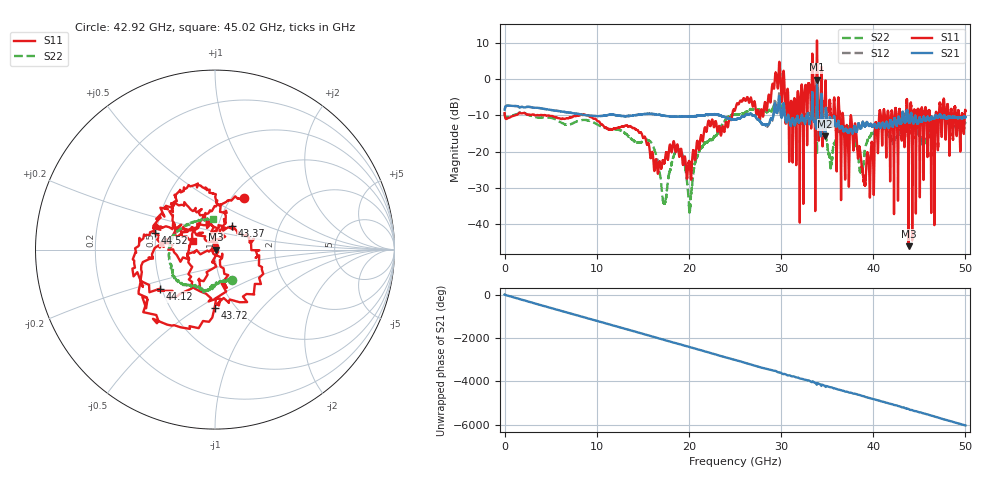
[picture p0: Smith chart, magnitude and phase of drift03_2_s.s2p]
!Created with skrf (http://scikit-rf.org).
# Hz S RI R 50.0
!freq ReS11 ImS11 ReS21 ImS21 ReS12 ImS12 ReS22 ImS22
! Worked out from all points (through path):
!   10001 points, 300 kHz to 50 GHz, reference 50 ohm
!   highest |S21| = -0.19 dB at 33.9 GHz (marker M1); lowest = -15.8 dB at 34.8 GHz (marker M2)
!   group delay of S21, straight-line fit = 335 ps
!   lowest |S11| = -46.1 dB at 43.83 GHz (marker M3), VSWR 1.01, Z = 50.5 + j0.0522 ohm
!   |S11| at or under -10 dB: 4.47 GHz to 7.922 GHz (3.451 GHz wide, 55.7 % of centre); 9.008 GHz to 24.7 GHz (15.69 GHz wide, 93.1 % of centre); 36.72 GHz to 40.64 GHz (3.921 GHz wide, 10.1 % of centre) (the widest 3 of 64)
!   |S22| runs from -36.9 to -5.9 dB; largest |S21 - S12| = 0.11
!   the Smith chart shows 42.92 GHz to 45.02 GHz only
!   S11 on the Smith chart (normalised r, x): 42.92 GHz: 1.14, +0.73; 43.37 GHz: 1.17, +0.32; 43.72 GHz: 0.80, -0.59; 44.12 GHz: 0.49, -0.25; 44.52 GHz: 0.49, +0.10; 45.02 GHz: 0.78, +0.07
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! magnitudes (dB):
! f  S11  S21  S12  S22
! 300 kHz  -9.4  -8.5  -8.4  -9.3
! 8.335 GHz  -9.9  -9.8  -9.8  -11.4
! 16.67 GHz  -25.6  -9.8  -9.8  -23.7
! 17.35 GHz  -23.1  -10.1  -10.1  -34.1
! 19.03 GHz  -20.6  -10.4  -10.4  -19.8
! 20.11 GHz  -23.9  -10.3  -10.3  -34.5
! 21.19 GHz  -18.0  -10.1  -10.1  -19.5
! 25 GHz  -8.6  -11.1  -11.1  -9.8
! 31.08 GHz  -6.0  -12.7  -12.8  -10.5
! 33.34 GHz  -0.3  -8.0  -8.1  -9.5
! 33.9 GHz  10.7  -0.2  -0.6  -20.7
! 34.8 GHz  -3.2  -15.8  -13.9  -14.5
! 39 GHz  -28.6  -12.7  -12.8  -22.0
! 41.67 GHz  -10.1  -13.4  -13.3  -14.9
! 42.92 GHz  -9.6  -12.1  -12.0  -14.3
! 43.37 GHz  -15.8  -11.5  -11.5  -13.5
! 43.72 GHz  -9.8  -9.5  -9.4  -12.7
! 43.83 GHz  -46.1  -11.4  -11.5  -11.8
! 44.12 GHz  -8.5  -9.5  -9.6  -11.5
! 44.52 GHz  -9.1  -10.8  -10.8  -12.1
! 45.02 GHz  -17.7  -10.6  -10.5  -15.5
! 50 GHz  -8.7  -10.5  -10.6  -12.1
